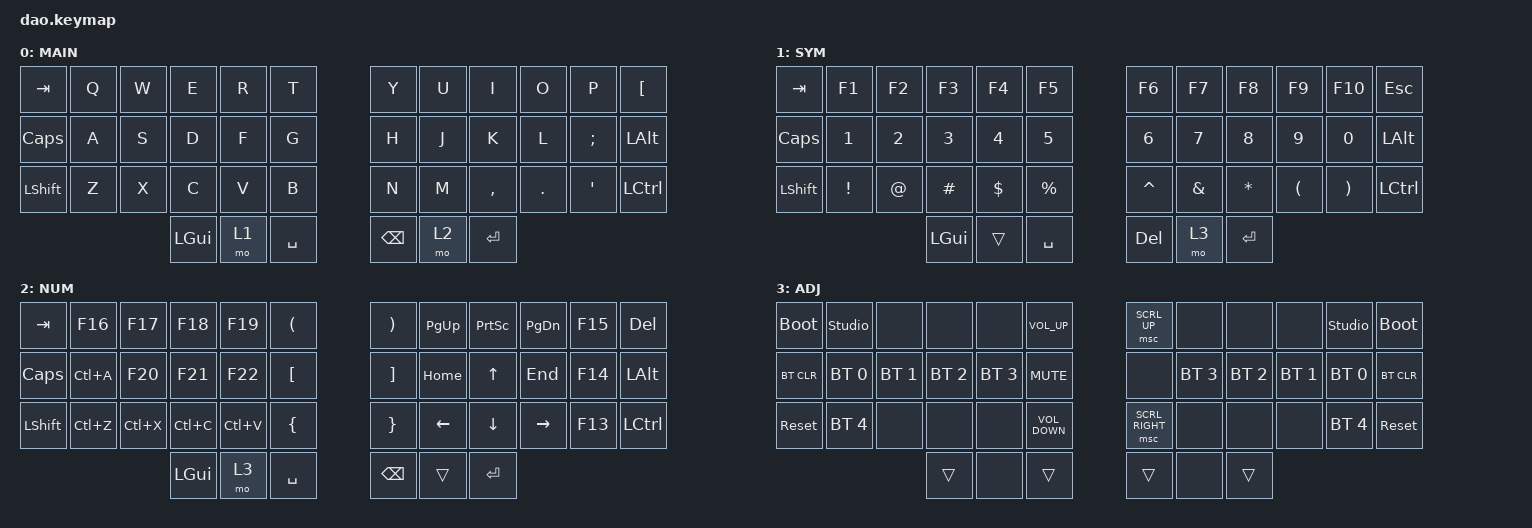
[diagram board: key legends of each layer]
/*
 * Copyright (c) 2021 Rafael Yumagulov
 *
 * SPDX-License-Identifier: MIT
 */

#include <behaviors.dtsi>
#include <dt-bindings/zmk/bt.h>
#include <dt-bindings/zmk/keys.h>
#include <dt-bindings/zmk/pointing.h>

#define DEF 0
#define LWR 1
#define RSE 2
#define ADJ 3

&lt { quick_tap_ms = <200>; };

&mt { quick_tap_ms = <200>; };

/ {
    chosen {
        zmk,physical_layout = &dao_crkbd_layout;

        // zmk,physical_layout = &dao_full_layout;
    };
};

/ {
    keymap {
        compatible = "zmk,keymap";

        default_layer {
            display-name = "MAIN";
            bindings = <
&kp TAB         &kp Q  &kp W  &kp E         &kp R  &kp T      &kp Y          &kp U  &kp I      &kp O    &kp P     &kp LEFT_BRACKET
&kp CAPS        &kp A  &kp S  &kp D         &kp F  &kp G      &kp H          &kp J  &kp K      &kp L    &kp SEMI  &kp LEFT_ALT
&kp LEFT_SHIFT  &kp Z  &kp X  &kp C         &kp V  &kp B      &kp N          &kp M  &kp COMMA  &kp DOT  &kp SQT   &kp LEFT_CONTROL
                              &kp LEFT_GUI  &mo 1  &kp SPACE  &kp BACKSPACE  &mo 2  &kp ENTER
            >;
        };

        lower_layer {
            display-name = "SYM";
            bindings = <
&kp TAB         &kp F1           &kp F2       &kp F3        &kp F4      &kp F5       &kp F6      &kp F7         &kp F8        &kp F9                &kp F10                &kp ESCAPE
&kp CAPS        &kp N1           &kp N2       &kp N3        &kp N4      &kp N5       &kp N6      &kp N7         &kp N8        &kp N9                &kp N0                 &kp LEFT_ALT
&kp LEFT_SHIFT  &kp EXCLAMATION  &kp AT_SIGN  &kp HASH      &kp DOLLAR  &kp PERCENT  &kp CARET   &kp AMPERSAND  &kp ASTERISK  &kp LEFT_PARENTHESIS  &kp RIGHT_PARENTHESIS  &kp LEFT_CONTROL
                                              &kp LEFT_GUI  &trans      &kp SPACE    &kp DELETE  &mo 3          &kp ENTER
            >;
        };

        raise_layer {
            display-name = "NUM";
            bindings = <
&kp TAB         &kp F16    &kp F17    &kp F18       &kp F19    &kp LEFT_PARENTHESIS  &kp RIGHT_PARENTHESIS  &kp PAGE_UP     &kp PRINTSCREEN  &kp PAGE_DOWN  &kp F15  &kp DELETE
&kp CLCK        &kp LC(A)  &kp F20    &kp F21       &kp F22    &kp LEFT_BRACKET      &kp RIGHT_BRACKET      &kp HOME        &kp UP           &kp END        &kp F14  &kp LEFT_ALT
&kp LEFT_SHIFT  &kp LC(Z)  &kp LC(X)  &kp LC(C)     &kp LC(V)  &kp LEFT_BRACE        &kp RIGHT_BRACE        &kp LEFT_ARROW  &kp DOWN         &kp RIGHT      &kp F13  &kp LEFT_CONTROL
                                      &kp LEFT_GUI  &mo 3      &kp SPACE             &kp BACKSPACE          &trans          &kp ENTER
            >;
        };

        adjust_layer {
            display-name = "ADJ";
            bindings = <
&bootloader  &studio_unlock  &none         &none         &none         &kp C_VOLUME_UP    &msc SCRL_UP     &none         &none         &none         &studio_unlock  &bootloader
&bt BT_CLR   &bt BT_SEL 0    &bt BT_SEL 1  &bt BT_SEL 2  &bt BT_SEL 3  &kp K_MUTE         &none            &bt BT_SEL 3  &bt BT_SEL 2  &bt BT_SEL 1  &bt BT_SEL 0    &bt BT_CLR
&sys_reset   &bt BT_SEL 4    &none         &none         &none         &kp C_VOLUME_DOWN  &msc SCRL_RIGHT  &none         &none         &none         &bt BT_SEL 4    &sys_reset
                                           &trans        &none         &trans             &trans           &none         &trans
            >;
        };
    };
};
